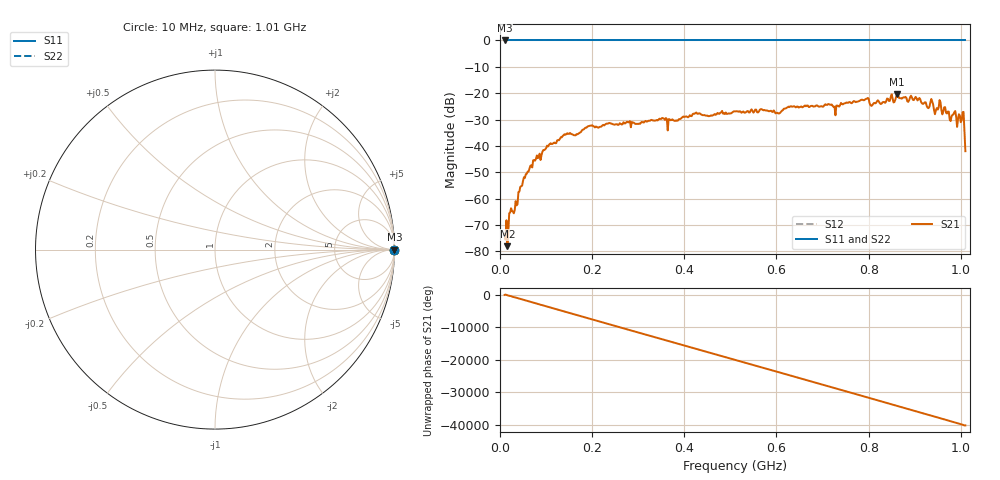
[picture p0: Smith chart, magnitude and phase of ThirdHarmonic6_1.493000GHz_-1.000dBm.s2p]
! 8/16/2025 5:30:30 PM
! C:\ANRITSUVNA\TEMP\TEMP.S2P
! CHANNEL.1
! TR.MEASUREMENT
! RAW.DATA
! RF.CORRECTION.OFF
! AVERAGING.OFF
! IF.BANDWIDTH: 5KHZ
! SWEEPTYPE:  FREQ.SWEEP(Linear)
! Reference Plane Port Info
! PORT:  PORT1  PORT2
! DISTANCE:  0  m  0  m
! TIME:  0  s  0  s
! PHASE.OFFSET:  0  deg.  0  deg.
! LOSS:  0  dB  0  dB
! REF.LOSS:  0  dB  0  dB
! REF.FREQ:  0  Hz  0  Hz
! Power Info
! POWER:  -20  dBm  -20  dBm
! EFF.POWER:  -20  dBm  -20  dBm
! SOURCE.ATTEN:  0  dB  0  dB
! TEST.ATTEN:  0  dB  0  dB
# GHZ S RI R 50.0
! FREQ.GHZ  S11RE  S11IM  S21RE  S21IM  S12RE  S12IM  S22RE  S22IM
!; PortSelection: Port_12
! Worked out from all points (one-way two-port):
!   501 points, 10 MHz to 1.01 GHz, reference 50 ohm
!   highest |S21| = -20.34 dB at 862 MHz (marker M1); lowest = -78.0 dB at 16 MHz (marker M2)
!   lowest |S11| = 0.0 dB at 10 MHz (marker M3)
!   |S11| at or under -10 dB: nowhere
!   |S22| runs from 0.0 to 0.0 dB; largest |S21 - S12| = 1.1
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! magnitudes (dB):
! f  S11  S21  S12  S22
! 10 MHz  0.0  -73.5  0.0  0.0
! 16 MHz  0.0  -78.0  0.0  0.0
! 24 MHz  0.0  -63.7  0.0  0.0
! 34 MHz  0.0  -60.9  0.0  0.0
! 48 MHz  0.0  -55.1  0.0  0.0
! 76 MHz  0.0  -45.6  0.0  0.0
! 142 MHz  0.0  -35.8  0.0  0.0
! 178 MHz  0.0  -34.1  0.0  0.0
! 344 MHz  0.0  -30.1  0.0  0.0
! 510 MHz  0.0  -26.9  0.0  0.0
! 602 MHz  0.0  -27.4  0.0  0.0
! 628 MHz  0.0  -25.3  0.0  0.0
! 678 MHz  0.0  -24.8  0.0  0.0
! 844 MHz  0.0  -23.0  0.0  0.0
! 862 MHz  0.0  -20.3  0.0  0.0
! 928 MHz  0.0  -25.5  0.0  0.0
! 936 MHz  0.0  -22.2  0.0  0.0
! 946 MHz  0.0  -26.4  0.0  0.0
! 952 MHz  0.0  -25.5  0.0  0.0
! 980 MHz  0.0  -28.8  0.0  0.0
! 1.002 GHz  0.0  -30.2  0.0  0.0
! 1.01 GHz  0.0  -42.0  0.0  0.0
